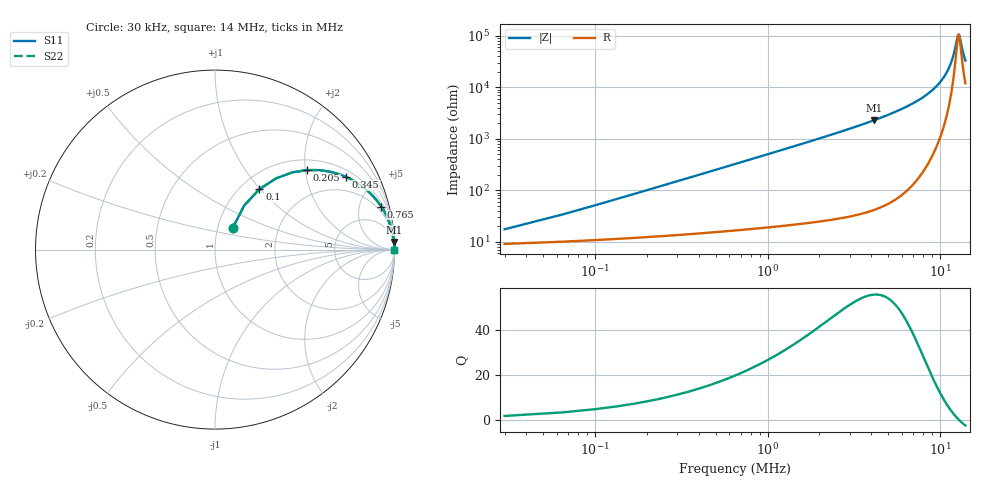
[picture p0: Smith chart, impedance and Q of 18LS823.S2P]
! Coilcraft 1812LS-823 Chip Inductor
! 8 August 2002
# MHZ S MA R 50
!Freq  MagS11  AngS11  MagS21  AngS21  MagS12  AngS12  MagS22  AngS22
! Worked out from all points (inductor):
!   401 points, 30 kHz to 14 MHz, reference 50 ohm
!   read as one part in series: L = 79 uH near 100 kHz
!   highest Q = 55.6 at 4.16 MHz (marker M1), where L = 88.3 uH
!   self-resonance near 12.8 MHz
!   S11 on the Smith chart (normalised r, x): 30 kHz: 1.18, +0.30; 100 kHz: 1.21, +0.99; 205 kHz: 1.25, +2.04; 345 kHz: 1.28, +3.43; 765 kHz: 1.35, +7.62; 14 MHz: open
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0.03  0.1582 51.0  0.9088 -7.8  0.9088 -7.8  0.1582 51.0
0.1  0.4186 53.7  0.8243 -24.2  0.8243 -24.2  0.4186 53.7
0.135  0.5231 49.4  0.7697 -31.1  0.7697 -31.1  0.5231 49.4
0.205  0.6764 40.9  0.6598 -42.2  0.6598 -42.2  0.6764 40.9
0.275  0.7736 34.1  0.5639 -50.4  0.5639 -50.4  0.7736 34.1
0.345  0.8356 29.0  0.486 -56.4  0.486 -56.4  0.8356 29.0
0.52  0.9147 20.6  0.3532 -65.9  0.3532 -65.9  0.9147 20.6
0.765  0.9567 14.5  0.2508 -72.9  0.2508 -72.9  0.9567 14.5
1.43  0.9865 7.9  0.1372 -80.4  0.1372 -80.4  0.9865 7.9
2.375  0.9949 4.7  0.08147 -84.1  0.08147 -84.1  0.9949 4.7
4.16  0.9983 2.5  0.04323 -86.5  0.04323 -86.5  0.9983 2.5
4.72  0.9987 2.1  0.03682 -86.8  0.03682 -86.8  0.9987 2.1
7.03  0.9993 1.1  0.02 -87.3  0.02 -87.3  0.9993 1.1
9.375  0.9993 0.6  0.009972 -85.9  0.009972 -85.9  0.9993 0.6
10.74  0.9993 0.3  0.005599 -82.3  0.005599 -82.3  0.9993 0.3
11.685  0.9992 0.2  0.002993 -74.1  0.002993 -74.1  0.9992 0.2
12.07  0.9991 0.1  0.002046 -65.3  0.002046 -65.3  0.9991 0.1
12.595  0.9991 0.0  0.00105 -30.0  0.00105 -30.0  0.9991 0.0
12.805  0.9991 0.0  0.0009335 -0.4  0.0009335 -0.4  0.9991 0.0
12.98  0.999 -0.0  0.001042 23.7  0.001042 23.7  0.999 -0.0
13.54  0.999 -0.1  0.00202 59.5  0.00202 59.5  0.999 -0.1
14  0.9989 -0.2  0.002993 68.6  0.002993 68.6  0.9989 -0.2
